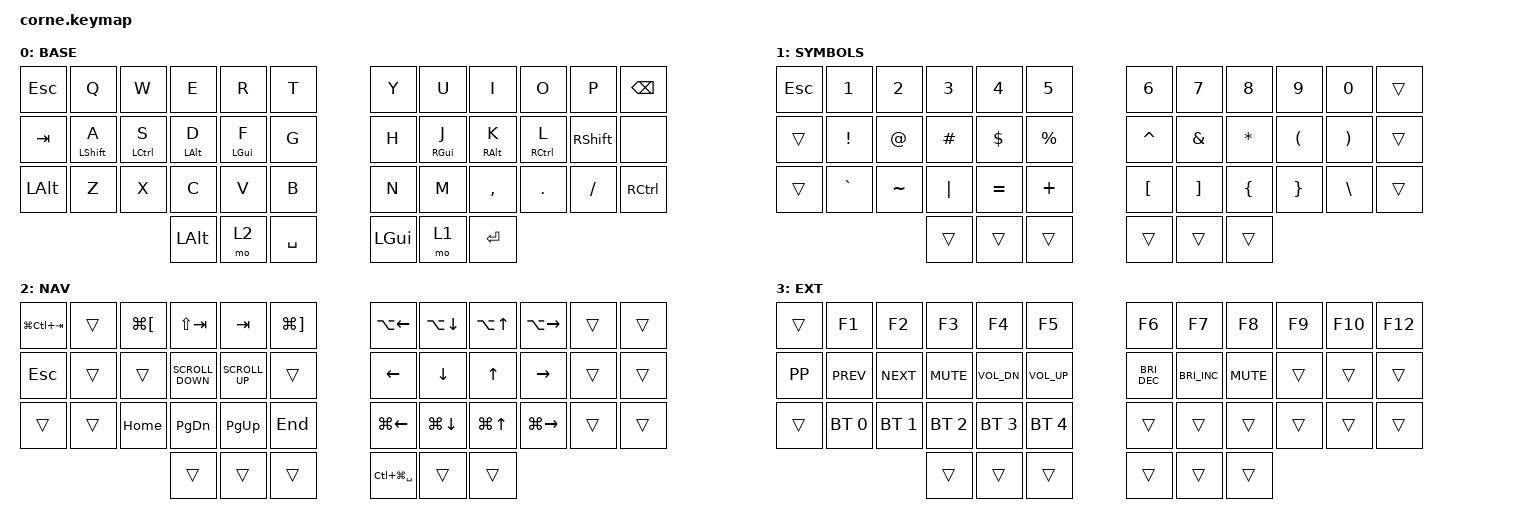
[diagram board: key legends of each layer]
#include <behaviors.dtsi>
#include <dt-bindings/zmk/bt.h>
#include <dt-bindings/zmk/keys.h>

&led_strip {
    chain-length = <0>;

    // chain-length = <27>;
    // 21 backlight + 6 glowlight
};

#define TAPPING_TERM 200

/ {
    behaviors {
        /*
    * td_lock groups locking functions into one key:
    *  - tap once to lock the host
    *  - tap twice to put the host to sleep
    */

        td_lock: tap_dance_lock {
            compatible = "zmk,behavior-tap-dance";
            label = "TAP_DANCE_LOCK";
            #binding-cells = <0>;
            tapping-term-ms = <TAPPING_TERM>;
            bindings = <&kp LG(LC(Q))>, <&kp LG(LA(C_EJECT))>;
        };
    };

    combos {
        compatible = "zmk,combos";

        Clear_BLE_Profile {
            bindings = <&bt BT_CLR>;
            key-positions = <0 38 5>;
        };

        Space {
            bindings = <&kp SPACE>;
            key-positions = <29 28>;
        };

        Enter {
            bindings = <&kp ENTER>;
            key-positions = <17 16>;
        };

        Capslock {
            bindings = <&kp CLCK>;
            key-positions = <5 6>;
        };

        bootloader {
            bindings = <&sys_reset>;
            key-positions = <39 6 11>;
        };
    };

    macros {
    };

    keymap {
        compatible = "zmk,keymap";

        base_layer {
            label = "BASE";
            bindings = <
&kp ESCAPE    &kp Q             &kp W        &kp E           &kp R           &kp T        &kp Y         &kp U            &kp I            &kp O        &kp P            &kp BACKSPACE
&kp TAB       &mt LEFT_SHIFT A  &mt LCTRL S  &mt LEFT_ALT D  &mt LEFT_GUI F  &kp G        &kp H         &mt RIGHT_GUI J  &mt RIGHT_ALT K  &mt RCTRL L  &kp RIGHT_SHIFT  &none
&kp LEFT_ALT  &kp Z             &kp X        &kp C           &kp V           &kp B        &kp N         &kp M            &kp COMMA        &kp DOT      &kp SLASH        &kp RCTRL
                                             &kp LEFT_ALT    &mo 2           &kp SPACE    &kp LEFT_GUI  &mo 1            &kp ENTER
            >;
        };

        symbols_layer {
            label = "SYMBOLS";
            bindings = <
&kp ESC  &kp N1     &kp N2     &kp N3    &kp N4     &kp N5       &kp N6            &kp N7             &kp N8          &kp N9           &kp N0         &trans
&trans   &kp EXCL   &kp AT     &kp HASH  &kp DLLR   &kp PRCNT    &kp CARET         &kp AMPS           &kp ASTERISK    &kp LPAR         &kp RPAR       &trans
&trans   &kp GRAVE  &kp TILDE  &kp PIPE  &kp EQUAL  &kp PLUS     &kp LEFT_BRACKET  &kp RIGHT_BRACKET  &kp LEFT_BRACE  &kp RIGHT_BRACE  &kp BACKSLASH  &trans
                               &trans    &trans     &trans       &trans            &trans             &trans
            >;
        };

        nav_layer {
            label = "NAV";
            bindings = <
&kp LG(LC(TAB))  &trans  &kp LG(LEFT_BRACKET)  &kp LS(TAB)        &kp TAB          &kp LG(RIGHT_BRACKET)    &kp LA(LEFT)       &kp LA(DOWN)  &kp LA(UP)  &kp LA(RIGHT)  &trans  &trans
&kp ESC          &trans  &trans                &kp K_SCROLL_DOWN  &kp K_SCROLL_UP  &trans                   &kp LEFT           &kp DOWN      &kp UP      &kp RIGHT      &trans  &trans
&trans           &trans  &kp HOME              &kp PG_DN          &kp PG_UP        &kp END                  &kp LG(LEFT)       &kp LG(DOWN)  &kp LG(UP)  &kp LG(RIGHT)  &trans  &trans
                                               &trans             &trans           &trans                   &kp LC(LG(SPACE))  &trans        &trans
            >;
        };

        extended_layer {
            label = "EXT";
            bindings = <
&trans    &kp F1        &kp F2        &kp F3        &kp F4        &kp F5          &kp F6                &kp F7                &kp F8      &kp F9  &kp F10  &kp F12
&kp K_PP  &kp K_PREV    &kp K_NEXT    &kp K_MUTE    &kp C_VOL_DN  &kp C_VOL_UP    &kp C_BRIGHTNESS_DEC  &kp C_BRIGHTNESS_INC  &kp C_MUTE  &trans  &trans   &trans
&trans    &bt BT_SEL 0  &bt BT_SEL 1  &bt BT_SEL 2  &bt BT_SEL 3  &bt BT_SEL 4    &trans                &trans                &trans      &trans  &trans   &trans
                                      &trans        &trans        &trans          &trans                &trans                &trans
            >;
        };
    };

    conditional_layers {
        compatible = "zmk,conditional-layers";

        Activate_EXT {
            if-layers = <1 2>;
            then-layer = <3>;
        };
    };
};
